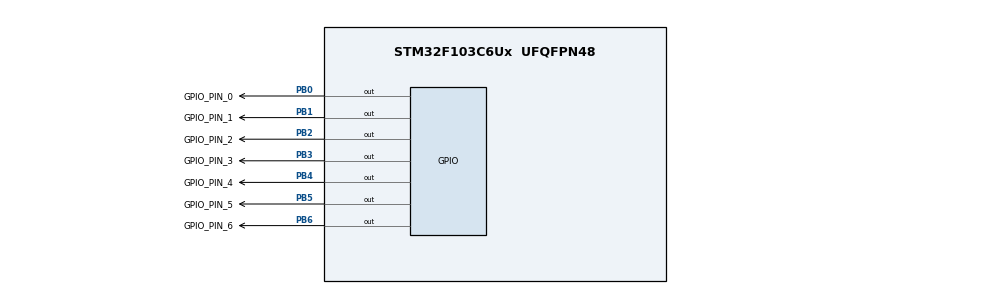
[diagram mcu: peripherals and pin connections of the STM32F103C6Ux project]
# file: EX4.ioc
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Mcu.Family=STM32F1
Mcu.Name=STM32F103C6Ux
Mcu.Package=UFQFPN48
NVIC.PriorityGroup=NVIC_PRIORITYGROUP_4
PB0.GPIO_Label=GPIO_PIN_0
PB0.Signal=GPIO_Output
PB1.GPIO_Label=GPIO_PIN_1
PB1.Signal=GPIO_Output
PB2.GPIO_Label=GPIO_PIN_2
PB2.Signal=GPIO_Output
PB3.GPIO_Label=GPIO_PIN_3
PB3.Signal=GPIO_Output
PB4.GPIO_Label=GPIO_PIN_4
PB4.Signal=GPIO_Output
PB5.GPIO_Label=GPIO_PIN_5
PB5.Signal=GPIO_Output
PB6.GPIO_Label=GPIO_PIN_6
PB6.Signal=GPIO_Output
ProjectManager.HeapSize=0x200
ProjectManager.StackSize=0x400
ProjectManager.TargetToolchain=STM32CubeIDE
RCC.APB1Freq_Value=8000000
RCC.APB2Freq_Value=8000000
VP_SYS_VS_ND.Mode=No_Debug
board=custom

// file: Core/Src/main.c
/* USER CODE BEGIN Header */
/**
  ******************************************************************************
  * @file           : main.c
  * @brief          : Main program body
  ******************************************************************************
  * @attention
  *
  * <h2><center>&copy; Copyright (c) 2023 STMicroelectronics.
  * All rights reserved.</center></h2>
  *
  * This software component is licensed by ST under BSD 3-Clause license,
  * the "License"; You may not use this file except in compliance with the
  * License. You may obtain a copy of the License at:
  *                        opensource.org/licenses/BSD-3-Clause
  *
  ******************************************************************************
  */
/* USER CODE END Header */
#include "main.h"

void SystemClock_Config(void);
static void MX_GPIO_Init(void);

int main(void)
{

  /* MCU Configuration--------------------------------------------------------*/

  /* Reset of all peripherals, Initializes the Flash interface and the Systick. */
  HAL_Init();

  /* Configure the system clock */
  SystemClock_Config();

  /* Initialize all configured peripherals */
  MX_GPIO_Init();

  /* Infinite loop */
  /* USER CODE BEGIN WHILE */
  int count_time=0;
   while (1)
   {
 	  switch(count_time){
 	  case 0:{
 		  HAL_GPIO_WritePin(GPIOB,GPIO_PIN_6,1);
 		  HAL_GPIO_WritePin(GPIOB,GPIO_PIN_0,0);
 		  HAL_GPIO_WritePin(GPIOB,GPIO_PIN_1,0);
 		  HAL_GPIO_WritePin(GPIOB,GPIO_PIN_2,0);
 		  HAL_GPIO_WritePin(GPIOB,GPIO_PIN_3,0);
 		  HAL_GPIO_WritePin(GPIOB,GPIO_PIN_4,0);
 		  HAL_GPIO_WritePin(GPIOB,GPIO_PIN_5,0);

 		  break ;
 	  	  };
 	  case 1:{
 		  HAL_GPIO_WritePin(GPIOB,GPIO_PIN_6,1);
 		  HAL_GPIO_WritePin(GPIOB,GPIO_PIN_0,1);
 		  HAL_GPIO_WritePin(GPIOB,GPIO_PIN_1,0);
 		  HAL_GPIO_WritePin(GPIOB,GPIO_PIN_2,0);
 		  HAL_GPIO_WritePin(GPIOB,GPIO_PIN_3,1);
 		  HAL_GPIO_WritePin(GPIOB,GPIO_PIN_4,1);
 		  HAL_GPIO_WritePin(GPIOB,GPIO_PIN_5,1);
 		  break ;
 	  	  };
 	  case 2:{
 		  HAL_GPIO_WritePin(GPIOB,GPIO_PIN_0,0);
 		   HAL_GPIO_WritePin(GPIOB,GPIO_PIN_2,1);
 		   HAL_GPIO_WritePin(GPIOB,GPIO_PIN_3,0);
 		   HAL_GPIO_WritePin(GPIOB,GPIO_PIN_4,0);
 		   HAL_GPIO_WritePin(GPIOB,GPIO_PIN_6,0);
 		   HAL_GPIO_WritePin(GPIOB,GPIO_PIN_1,0);
 		   HAL_GPIO_WritePin(GPIOB,GPIO_PIN_5,1);
 		   break ;
 	  };
 	  case 3: {
 		  HAL_GPIO_WritePin(GPIOB,GPIO_PIN_0,0);
 		  HAL_GPIO_WritePin(GPIOB,GPIO_PIN_1,0);
 		  HAL_GPIO_WritePin(GPIOB,GPIO_PIN_2,0);
 		  HAL_GPIO_WritePin(GPIOB,GPIO_PIN_3,0);
 		  HAL_GPIO_WritePin(GPIOB,GPIO_PIN_4,1);
 		  HAL_GPIO_WritePin(GPIOB,GPIO_PIN_5,1);
 		  HAL_GPIO_WritePin(GPIOB,GPIO_PIN_6,0);
 		  break;
 	  };
 	  case 4:{
 		  HAL_GPIO_WritePin(GPIOB,GPIO_PIN_0,1);
 		  HAL_GPIO_WritePin(GPIOB,GPIO_PIN_1,0);
 		  HAL_GPIO_WritePin(GPIOB,GPIO_PIN_2,0);
 		  HAL_GPIO_WritePin(GPIOB,GPIO_PIN_3,1);
 		  HAL_GPIO_WritePin(GPIOB,GPIO_PIN_4,1);
 		  HAL_GPIO_WritePin(GPIOB,GPIO_PIN_5,0);
 		  HAL_GPIO_WritePin(GPIOB,GPIO_PIN_6,0);
 		  break;
 	  };
 	  case 5:{
 		  HAL_GPIO_WritePin(GPIOB,GPIO_PIN_0,0);
 		  HAL_GPIO_WritePin(GPIOB,GPIO_PIN_1,1);
 		  HAL_GPIO_WritePin(GPIOB,GPIO_PIN_2,0);
 		  HAL_GPIO_WritePin(GPIOB,GPIO_PIN_3,0);
 		  HAL_GPIO_WritePin(GPIOB,GPIO_PIN_4,1);
 		  HAL_GPIO_WritePin(GPIOB,GPIO_PIN_5,0);
 		  HAL_GPIO_WritePin(GPIOB,GPIO_PIN_6,0);

 		  break;
 	  };
 	  case 6:{
 		  HAL_GPIO_WritePin(GPIOB,GPIO_PIN_0,0);
 		  HAL_GPIO_WritePin(GPIOB,GPIO_PIN_1,1);
 		  HAL_GPIO_WritePin(GPIOB,GPIO_PIN_2,0);
 		  HAL_GPIO_WritePin(GPIOB,GPIO_PIN_3,0);
 		  HAL_GPIO_WritePin(GPIOB,GPIO_PIN_4,0);
 		  HAL_GPIO_WritePin(GPIOB,GPIO_PIN_5,0);
 		  HAL_GPIO_WritePin(GPIOB,GPIO_PIN_6,0);
 		  break;
 	  };
 	  case 7:{
 		  HAL_GPIO_WritePin(GPIOB,GPIO_PIN_0,0);
 		  HAL_GPIO_WritePin(GPIOB,GPIO_PIN_1,0);
 		  HAL_GPIO_WritePin(GPIOB,GPIO_PIN_2,0);
 		  HAL_GPIO_WritePin(GPIOB,GPIO_PIN_3,1);
 		  HAL_GPIO_WritePin(GPIOB,GPIO_PIN_4,1);
 		  HAL_GPIO_WritePin(GPIOB,GPIO_PIN_5,1);
 		  HAL_GPIO_WritePin(GPIOB,GPIO_PIN_6,1);

 		  break;
 	  };
 	  case 8:{
 		  HAL_GPIO_WritePin(GPIOB,GPIO_PIN_0,0);
 		  HAL_GPIO_WritePin(GPIOB,GPIO_PIN_1,0);
 		  HAL_GPIO_WritePin(GPIOB,GPIO_PIN_2,0);
 		  HAL_GPIO_WritePin(GPIOB,GPIO_PIN_3,0);
 		  HAL_GPIO_WritePin(GPIOB,GPIO_PIN_4,0);
 		  HAL_GPIO_WritePin(GPIOB,GPIO_PIN_5,0);
 		  HAL_GPIO_WritePin(GPIOB,GPIO_PIN_6,0);
 		 		  break;
 	  };
 	  case 9:{
 		  HAL_GPIO_WritePin(GPIOB,GPIO_PIN_4,1);
 		  HAL_GPIO_WritePin(GPIOB,GPIO_PIN_0,0);
 		  HAL_GPIO_WritePin(GPIOB,GPIO_PIN_1,0);
 		  HAL_GPIO_WritePin(GPIOB,GPIO_PIN_2,0);
 		  HAL_GPIO_WritePin(GPIOB,GPIO_PIN_3,0);
 		  HAL_GPIO_WritePin(GPIOB,GPIO_PIN_5,0);
 		  HAL_GPIO_WritePin(GPIOB,GPIO_PIN_6,0);
 		  count_time=-1;
 		  break;
 	  };

 	  };
 	  count_time++;
     /* USER CODE END WHILE */

     /* USER CODE BEGIN 3 */
 	  	 HAL_Delay(1000);

   }
  /* USER CODE END 3 */
}

void SystemClock_Config(void)
{
  RCC_OscInitTypeDef RCC_OscInitStruct = {0};
  RCC_ClkInitTypeDef RCC_ClkInitStruct = {0};

  /** Initializes the RCC Oscillators according to the specified parameters
  * in the RCC_OscInitTypeDef structure.
  */
  RCC_OscInitStruct.OscillatorType = RCC_OSCILLATORTYPE_HSI;
  RCC_OscInitStruct.HSIState = RCC_HSI_ON;
  RCC_OscInitStruct.HSICalibrationValue = RCC_HSICALIBRATION_DEFAULT;
  RCC_OscInitStruct.PLL.PLLState = RCC_PLL_NONE;
  if (HAL_RCC_OscConfig(&RCC_OscInitStruct) != HAL_OK)
  {
    Error_Handler();
  }
  /** Initializes the CPU, AHB and APB buses clocks
  */
  RCC_ClkInitStruct.ClockType = RCC_CLOCKTYPE_HCLK|RCC_CLOCKTYPE_SYSCLK
                              |RCC_CLOCKTYPE_PCLK1|RCC_CLOCKTYPE_PCLK2;
  RCC_ClkInitStruct.SYSCLKSource = RCC_SYSCLKSOURCE_HSI;
  RCC_ClkInitStruct.AHBCLKDivider = RCC_SYSCLK_DIV1;
  RCC_ClkInitStruct.APB1CLKDivider = RCC_HCLK_DIV1;
  RCC_ClkInitStruct.APB2CLKDivider = RCC_HCLK_DIV1;

  if (HAL_RCC_ClockConfig(&RCC_ClkInitStruct, FLASH_LATENCY_0) != HAL_OK)
  {
    Error_Handler();
  }
}

static void MX_GPIO_Init(void)
{
  GPIO_InitTypeDef GPIO_InitStruct = {0};

  /* GPIO Ports Clock Enable */
  __HAL_RCC_GPIOB_CLK_ENABLE();

  /*Configure GPIO pin Output Level */
  HAL_GPIO_WritePin(GPIOB, GPIO_PIN_0_Pin|GPIO_PIN_1_Pin|GPIO_PIN_2_Pin|GPIO_PIN_3_Pin
                          |GPIO_PIN_4_Pin|GPIO_PIN_5_Pin|GPIO_PIN_6_Pin, GPIO_PIN_RESET);

  /*Configure GPIO pins : PBPin PBPin PBPin PBPin
                           PBPin PBPin PBPin */
  GPIO_InitStruct.Pin = GPIO_PIN_0_Pin|GPIO_PIN_1_Pin|GPIO_PIN_2_Pin|GPIO_PIN_3_Pin
                          |GPIO_PIN_4_Pin|GPIO_PIN_5_Pin|GPIO_PIN_6_Pin;
  GPIO_InitStruct.Mode = GPIO_MODE_OUTPUT_PP;
  GPIO_InitStruct.Pull = GPIO_NOPULL;
  GPIO_InitStruct.Speed = GPIO_SPEED_FREQ_LOW;
  HAL_GPIO_Init(GPIOB, &GPIO_InitStruct);

}

void Error_Handler(void)
{
  __disable_irq();
  while (1)
  {
  }
}

/************************ (C) COPYRIGHT STMicroelectronics *****END OF FILE****/
